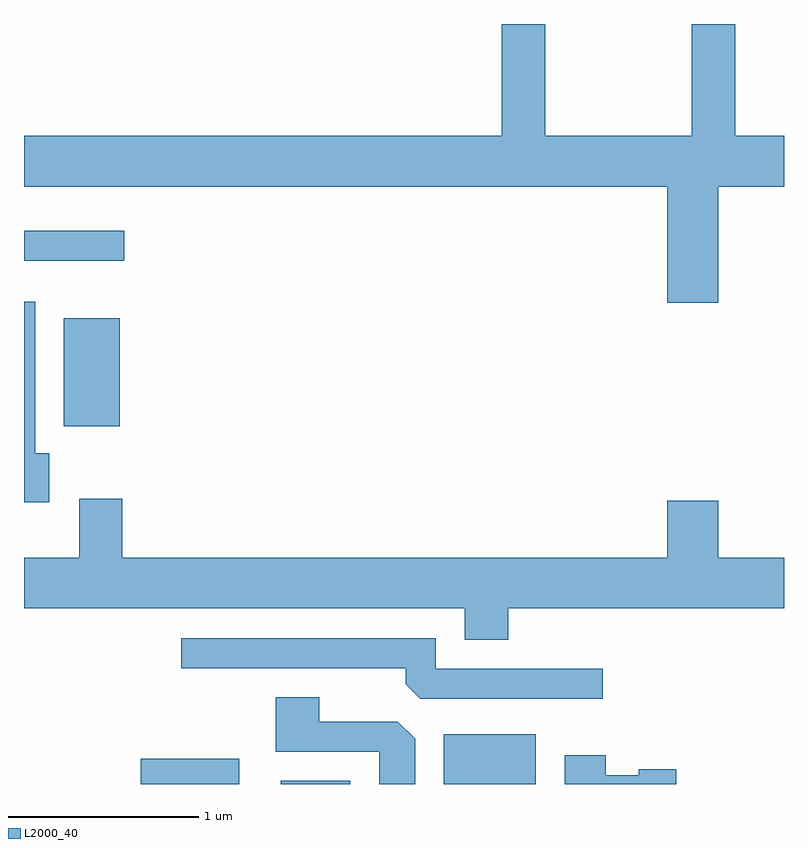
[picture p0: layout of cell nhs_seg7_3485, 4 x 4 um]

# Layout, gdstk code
import gdstk
lib = gdstk.Library(unit=1e-6, precision=1e-09)
def R(c, l, rs):  # rectangles x0, y0, x1, y1
    for r in rs: c.add(gdstk.rectangle(r[:2], r[2:], *l))
def P(c, l, *ps):  # polygons
    for p in ps: c.add(gdstk.Polygon(p, *l))
L2000_40 = (2000, 40)

nhs_seg7_3485 = lib.new_cell('nhs_seg7_3485')
R(nhs_seg7_3485, L2000_40, [(292.226,1742.252,292.744,1742.384), (292.961,1742.252,293.329,1742.269), (293.821,1742.252,294.304,1742.514), (291.821,1744.136,292.114,1744.704), (291.611,1745.006,292.138,1745.164)])
P(nhs_seg7_3485, L2000_40, [(295.264,1745.396),(295.611,1745.396),(295.611,1745.664),(295.354,1745.664),(295.354,1746.252),(295.126,1746.252),(295.126,1745.664),(294.354,1745.664),(294.354,1746.252),(294.126,1746.252),(294.126,1745.664),(291.611,1745.664),(291.611,1745.396),(294.996,1745.396),(294.996,1744.786),(295.264,1744.786)],
  [(291.744,1743.994),(291.669,1743.994),(291.669,1744.789),(291.611,1744.789),(291.611,1743.736),(291.744,1743.736)],
  [(294.159,1743.176),(295.611,1743.176),(295.611,1743.444),(295.264,1743.444),(295.264,1743.744),(294.996,1743.744),(294.996,1743.444),(292.129,1743.444),(292.129,1743.754),(291.901,1743.754),(291.901,1743.444),(291.611,1743.444),(291.611,1743.176),(293.931,1743.176),(293.931,1743.011),(294.159,1743.011)],
  [(294.658,1742.859),(293.779,1742.859),(293.779,1743.019),(292.438,1743.019),(292.438,1742.861),(293.621,1742.861),(293.621,1742.777),(293.697,1742.701),(294.658,1742.701)],
  [(293.669,1742.489),(293.579,1742.579),(293.164,1742.579),(293.164,1742.709),(292.936,1742.709),(292.936,1742.421),(293.481,1742.421),(293.481,1742.252),(293.669,1742.252)],
  [(295.044,1742.329),(294.846,1742.329),(294.846,1742.299),(294.674,1742.299),(294.674,1742.404),(294.456,1742.404),(294.456,1742.252),(295.044,1742.252)])

lib.write_gds('nhs_seg7_3485.gds')
